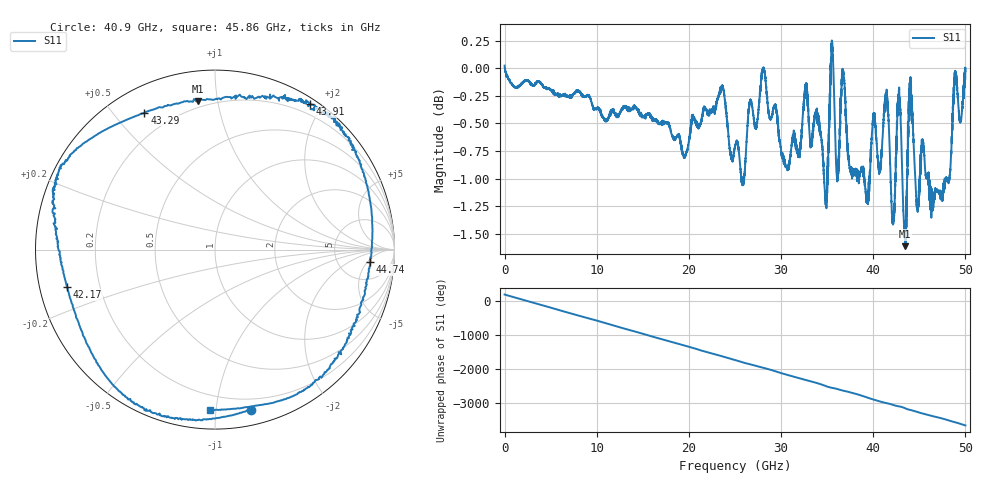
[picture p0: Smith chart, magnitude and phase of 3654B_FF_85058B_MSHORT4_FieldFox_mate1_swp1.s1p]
!Created with skrf (http://scikit-rf.org).
# Hz S RI R 50.0
!freq ReS11 ImS11
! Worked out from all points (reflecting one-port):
!   10000 points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, 5.3 MHz to 50 GHz, reference 50 ohm
!   lowest |S11| = -1.6 dB at 43.47 GHz (marker M1), VSWR 10.81, Z = 8.24 + j43.9 ohm
!   phase of S11 starts at 180 deg and turns -3824 deg over the sweep
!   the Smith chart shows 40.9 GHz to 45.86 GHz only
!   S11 on the Smith chart (normalised r, x): 40.9 GHz: 0.11, -1.24; 42.17 GHz: 0.08, -0.12; 43.29 GHz: 0.10, +0.61; 43.91 GHz: 0.07, +1.84; 44.74 GHz: 11, -6; 45.86 GHz: 0.11, -0.96
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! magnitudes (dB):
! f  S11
! 5.3 MHz  0.0
! 6.255 GHz  -0.2
! 12.51 GHz  -0.4
! 18.76 GHz  -0.6
! 23.58 GHz  -0.2
! 25.01 GHz  -0.7
! 25.89 GHz  -1.0
! 28.08 GHz  0.0
! 31.26 GHz  -0.6
! 32.7 GHz  -0.2
! 34.87 GHz  -1.2
! 35.54 GHz  0.2
! 36.08 GHz  -1.0
! 36.73 GHz  -0.1
! 37.51 GHz  -0.9
! 40.9 GHz  -0.8
! 41.47 GHz  -0.2
! 42.17 GHz  -1.4
! 42.79 GHz  -0.2
! 43.29 GHz  -1.3
! 43.47 GHz  -1.6
! 43.76 GHz  -0.6
! 43.91 GHz  -0.3
! 44.74 GHz  -1.2
! 45.86 GHz  -1.0
! 48.13 GHz  -1.0
! 48.87 GHz  -0.1
! 50 GHz  0.0
